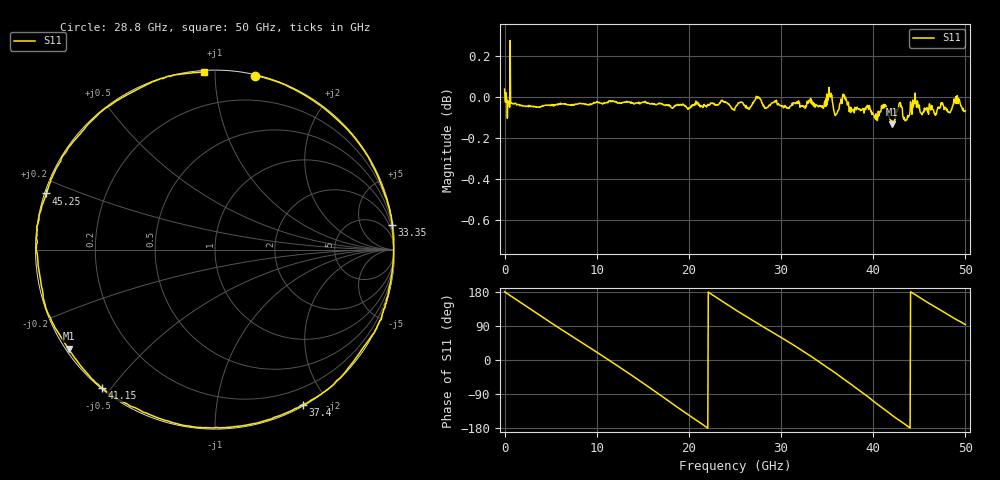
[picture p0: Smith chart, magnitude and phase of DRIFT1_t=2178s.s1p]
!Created with skrf (http://scikit-rf.org).
# Hz S RI R 50.0
!freq ReS11 ImS11
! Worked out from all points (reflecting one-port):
!   1001 points, 300 kHz to 50 GHz, reference 50 ohm
!   lowest |S11| = -0.1 dB at 42.05 GHz (marker M1), VSWR 130.58, Z = 0.419 - j15.3 ohm
!   phase of S11 starts at 180 deg and turns -806 deg over the sweep
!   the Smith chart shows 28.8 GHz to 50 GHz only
!   S11 on the Smith chart (normalised r, x): 28.8 GHz: 0.01, +1.26; 33.35 GHz: 0, +14; 37.4 GHz: 0.02, -1.71; 41.15 GHz: 0.00, -0.47; 45.25 GHz: 0.00, +0.16; 50 GHz: 0.01, +0.94
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300000  -1.004 0.000301
1.65029e9  -0.8866 0.4516
3.450279e9  -0.5511 0.8279
6.250262e9  0.1886 0.978
9.600242e9  0.889 0.4499
1.250022e10  0.9399 -0.3308
1.400022e10  0.7178 -0.6906
1.580021e10  0.2744 -0.9575
1.72502e10  -0.154 -0.9835
1.875019e10  -0.5675 -0.8183
2.040018e10  -0.8838 -0.4577
2.185017e10  -0.993 -0.0625
2.340016e10  -0.9266 0.367
2.500015e10  -0.6781 0.7264
2.705014e10  -0.2159 0.9738
2.880013e10  0.2232 0.9697
3.125011e10  0.7516 0.6525
3.33501e10  0.987 0.1386
3.530009e10  0.9106 -0.4153
3.740008e10  0.4882 -0.8632
3.750008e10  0.4583 -0.8823
3.935006e10  -0.096 -0.9906
4.115005e10  -0.6308 -0.7705
4.205005e10  -0.8157 -0.5518
4.375004e10  -0.986 -0.0846
4.525003e10  -0.9399 0.3132
4.760001e10  -0.5987 0.7947
5e10  -0.0603 0.9903
